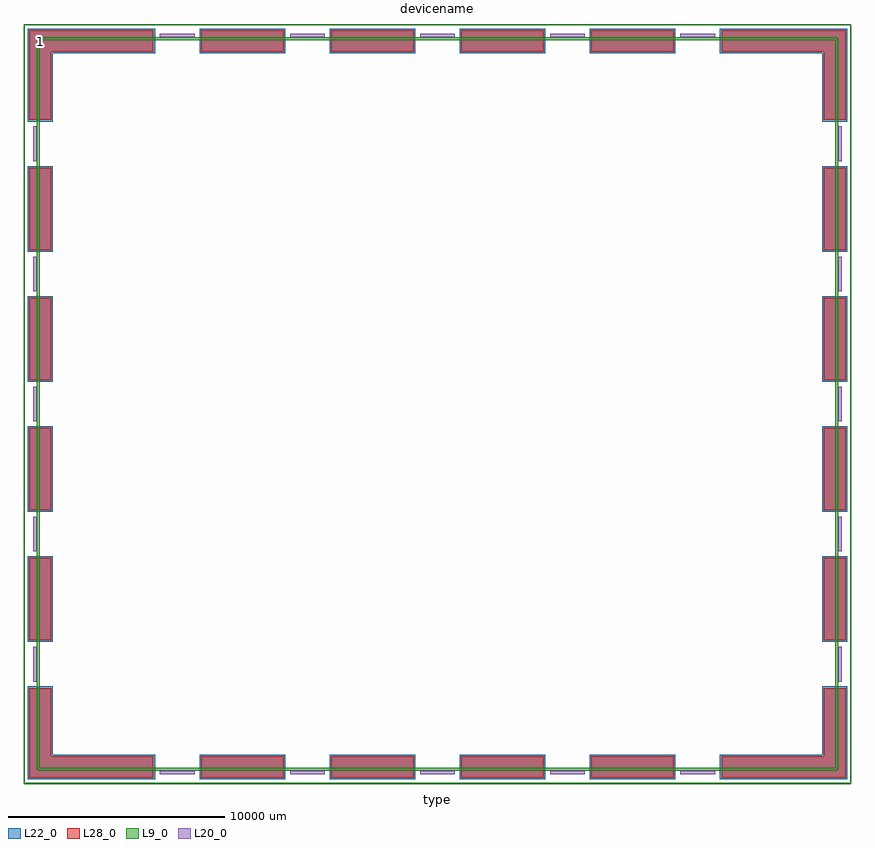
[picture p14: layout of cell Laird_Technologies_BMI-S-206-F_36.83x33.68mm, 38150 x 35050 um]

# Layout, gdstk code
import gdstk
lib = gdstk.Library(unit=1e-6, precision=1e-09)
def R(c, l, rs):  # rectangles x0, y0, x1, y1
    for r in rs: c.add(gdstk.rectangle(r[:2], r[2:], *l))
def A(c, l, x, y, w, h, nx, ny, dx, dy):  # array of equal rectangles
    R(c, l, [(x+i*dx, y+j*dy, x+i*dx+w, y+j*dy+h) for i in range(nx) for j in range(ny)])
L9_0 = (9, 0)
L20_0 = (20, 0)
L22_0 = (22, 0)
L28_0 = (28, 0)

laird_technologies_bmi_s = lib.new_cell('Laird_Technologies_BMI-S-206-F_36.83x33.68mm')
A(laird_technologies_bmi_s, L22_0, -10975, -17315, 3950, 1150, 4, 2, 6000, 33480)
A(laird_technologies_bmi_s, L22_0, -18895, -10975, 1150, 3950, 1, 4, 0, 6000)
A(laird_technologies_bmi_s, L22_0, 17745, -10975, 1150, 3950, 1, 4, 0, 6000)
R(laird_technologies_bmi_s, L22_0, [(-18895,-17315,-17745,-16165), (-17895,-17315,-13025,-16165), (13025,-17315,17895,-16165), (17745,-17315,18895,-16165), (-18895,-16315,-17745,-13025), (17745,-16315,18895,-13025), (-18895,13025,-17745,16315), (17745,13025,18895,16315), (-18895,16165,-17745,17315), (-17895,16165,-13025,17315), (13025,16165,17895,17315), (17745,16165,18895,17315)])
A(laird_technologies_bmi_s, L28_0, -10900, -17240, 3800, 1000, 4, 2, 6000, 33480)
A(laird_technologies_bmi_s, L28_0, -18820, -10900, 1000, 3800, 1, 4, 0, 6000)
A(laird_technologies_bmi_s, L28_0, 17820, -10900, 1000, 3800, 1, 4, 0, 6000)
R(laird_technologies_bmi_s, L28_0, [(-18820,-17240,-17820,-16240), (-17820,-17240,-13100,-16240), (13100,-17240,17820,-16240), (17820,-17240,18820,-16240), (-18820,-16240,-17820,-13100), (17820,-16240,18820,-13100), (-18820,13100,-17820,16240), (17820,13100,18820,16240), (-18820,16240,-17820,17240), (-17820,16240,-13100,17240), (13100,16240,17820,17240), (17820,16240,18820,17240)])
laird_technologies_bmi_s.add(gdstk.FlexPath([(18565,-11200),(18565,-12800)], 149.998, ends="flush", simple_path=True, layer=20, datatype=0))  # L20_0
laird_technologies_bmi_s.add(gdstk.FlexPath([(-18565,-11200),(-18565,-12800)], 149.998, ends="flush", simple_path=True, layer=20, datatype=0))  # L20_0
laird_technologies_bmi_s.add(gdstk.FlexPath([(18565,-5200),(18565,-6800)], 149.998, ends="flush", simple_path=True, layer=20, datatype=0))  # L20_0
laird_technologies_bmi_s.add(gdstk.FlexPath([(-18565,-5200),(-18565,-6800)], 149.998, ends="flush", simple_path=True, layer=20, datatype=0))  # L20_0
laird_technologies_bmi_s.add(gdstk.FlexPath([(18565,800),(18565,-800)], 149.998, ends="flush", simple_path=True, layer=20, datatype=0))  # L20_0
laird_technologies_bmi_s.add(gdstk.FlexPath([(-18565,800),(-18565,-800)], 149.998, ends="flush", simple_path=True, layer=20, datatype=0))  # L20_0
laird_technologies_bmi_s.add(gdstk.FlexPath([(18565,6800),(18565,5200)], 149.998, ends="flush", simple_path=True, layer=20, datatype=0))  # L20_0
laird_technologies_bmi_s.add(gdstk.FlexPath([(-18565,6800),(-18565,5200)], 149.998, ends="flush", simple_path=True, layer=20, datatype=0))  # L20_0
laird_technologies_bmi_s.add(gdstk.FlexPath([(18565,12800),(18565,11200)], 149.998, ends="flush", simple_path=True, layer=20, datatype=0))  # L20_0
laird_technologies_bmi_s.add(gdstk.FlexPath([(-18565,12800),(-18565,11200)], 149.998, ends="flush", simple_path=True, layer=20, datatype=0))  # L20_0
laird_technologies_bmi_s.add(gdstk.FlexPath([(11200,-16990),(12800,-16990)], 149.998, ends="flush", simple_path=True, layer=20, datatype=0))  # L20_0
laird_technologies_bmi_s.add(gdstk.FlexPath([(11200,16990),(12800,16990)], 149.998, ends="flush", simple_path=True, layer=20, datatype=0))  # L20_0
laird_technologies_bmi_s.add(gdstk.FlexPath([(5200,-16990),(6800,-16990)], 149.998, ends="flush", simple_path=True, layer=20, datatype=0))  # L20_0
laird_technologies_bmi_s.add(gdstk.FlexPath([(5200,16990),(6800,16990)], 149.998, ends="flush", simple_path=True, layer=20, datatype=0))  # L20_0
laird_technologies_bmi_s.add(gdstk.FlexPath([(-800,-16990),(800,-16990)], 149.998, ends="flush", simple_path=True, layer=20, datatype=0))  # L20_0
laird_technologies_bmi_s.add(gdstk.FlexPath([(-800,16990),(800,16990)], 149.998, ends="flush", simple_path=True, layer=20, datatype=0))  # L20_0
laird_technologies_bmi_s.add(gdstk.FlexPath([(-6800,-16990),(-5200,-16990)], 149.998, ends="flush", simple_path=True, layer=20, datatype=0))  # L20_0
laird_technologies_bmi_s.add(gdstk.FlexPath([(-6800,16990),(-5200,16990)], 149.998, ends="flush", simple_path=True, layer=20, datatype=0))  # L20_0
laird_technologies_bmi_s.add(gdstk.FlexPath([(-12800,-16990),(-11200,-16990)], 149.998, ends="flush", simple_path=True, layer=20, datatype=0))  # L20_0
laird_technologies_bmi_s.add(gdstk.FlexPath([(-12800,16990),(-11200,16990)], 149.998, ends="flush", simple_path=True, layer=20, datatype=0))  # L20_0
laird_technologies_bmi_s.add(gdstk.FlexPath([(18415,16840),(-18415,16840)], 149.998, ends="flush", simple_path=True, layer=9, datatype=0))  # L9_0
laird_technologies_bmi_s.add(gdstk.FlexPath([(18415,-16840),(18415,16840)], 149.998, ends="flush", simple_path=True, layer=9, datatype=0))  # L9_0
laird_technologies_bmi_s.add(gdstk.FlexPath([(-18415,-16840),(18415,-16840)], 149.998, ends="flush", simple_path=True, layer=9, datatype=0))  # L9_0
laird_technologies_bmi_s.add(gdstk.FlexPath([(-18415,16840),(-18415,-16840)], 149.998, ends="flush", simple_path=True, layer=9, datatype=0))  # L9_0
laird_technologies_bmi_s.add(gdstk.FlexPath([(19050,17500),(-19050,17500)], 50, ends="flush", simple_path=True, layer=9, datatype=0))  # L9_0
laird_technologies_bmi_s.add(gdstk.FlexPath([(19050,-17500),(19050,17500)], 50, ends="flush", simple_path=True, layer=9, datatype=0))  # L9_0
laird_technologies_bmi_s.add(gdstk.FlexPath([(-19050,-17500),(19050,-17500)], 50, ends="flush", simple_path=True, layer=9, datatype=0))  # L9_0
laird_technologies_bmi_s.add(gdstk.FlexPath([(-19050,17500),(-19050,-17500)], 50, ends="flush", simple_path=True, layer=9, datatype=0))  # L9_0
laird_technologies_bmi_s.add(gdstk.Label('1', (-18320,16740), layer=28, texttype=0))
laird_technologies_bmi_s.add(gdstk.Label('type', (0,-18240), layer=9, texttype=0))
laird_technologies_bmi_s.add(gdstk.Label('devicename', (0,18240), layer=9, texttype=0))

lib.write_gds('Laird_Technologies_BMI-S-206-F_36.83x33.68mm.gds')
